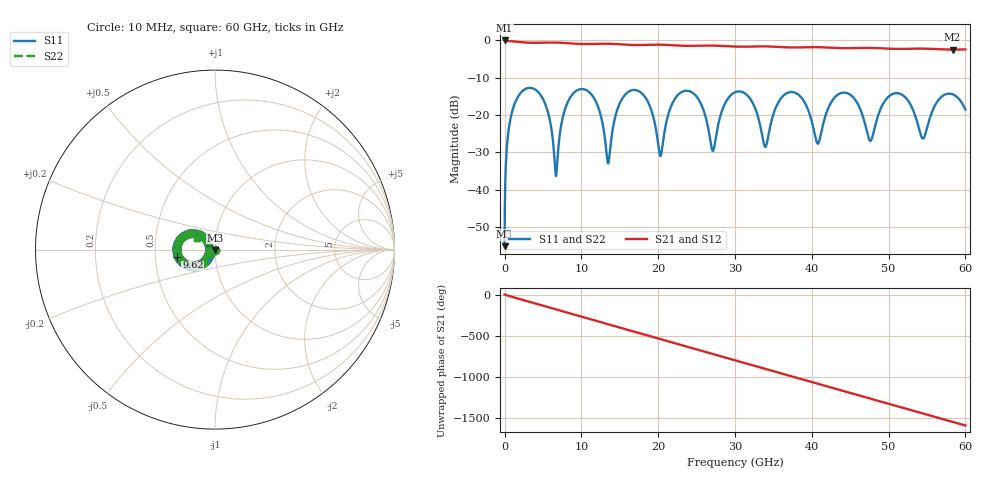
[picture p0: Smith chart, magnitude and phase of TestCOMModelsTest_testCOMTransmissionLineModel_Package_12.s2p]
! File created by SignalIntegrity v1.3.5: Signal and Power Integrity Tools
! https://github.com/TeledyneLeCroy/SignalIntegrity
# MHz S MA R 50.0
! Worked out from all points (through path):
!   6000 points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, 10 MHz to 60 GHz, reference 50 ohm
!   highest |S21| = -0.02 dB at 10 MHz (marker M1); lowest = -2.5 dB at 58.33 GHz (marker M2)
!   group delay of S21, straight-line fit = 73.3 ps
!   lowest |S11| = -55.1 dB at 10 MHz (marker M3), VSWR 1.00, Z = 49.9 - j0.167 ohm
!   |S11| at or under -10 dB: start of sweep to end of sweep
!   |S22| runs from -55.1 to -12.7 dB; largest |S21 - S12| = 0
!   S11 on the Smith chart (normalised r, x): 10 MHz: 1.00, -0.00; 9.62 GHz: 0.64, -0.06; 60 GHz: 0.82, +0.11
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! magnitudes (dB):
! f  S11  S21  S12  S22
! 10 MHz  -55.1  0.0  0.0  -55.1
! 540 MHz  -23.9  -0.2  -0.2  -23.9
! 1.81 GHz  -14.9  -0.4  -0.4  -14.9
! 4.92 GHz  -15.4  -0.6  -0.6  -15.4
! 6.7 GHz  -36.3  -0.6  -0.6  -36.3
! 9.62 GHz  -13.2  -0.9  -0.9  -13.2
! 10.01 GHz  -13.0  -1.0  -1.0  -13.0
! 13.46 GHz  -32.9  -0.9  -0.9  -32.9
! 16.6 GHz  -13.3  -1.2  -1.2  -13.3
! 20.01 GHz  -27.9  -1.1  -1.1  -27.9
! 23.76 GHz  -13.5  -1.5  -1.5  -13.5
! 27.15 GHz  -29.6  -1.4  -1.4  -29.6
! 30.01 GHz  -13.9  -1.7  -1.7  -13.9
! 33.93 GHz  -28.5  -1.6  -1.6  -28.5
! 36.8 GHz  -14.1  -1.9  -1.9  -14.1
! 40.01 GHz  -21.8  -1.8  -1.8  -21.8
! 44.54 GHz  -14.1  -2.1  -2.1  -14.1
! 47.65 GHz  -26.9  -2.0  -2.0  -26.9
! 50.01 GHz  -15.0  -2.2  -2.2  -15.0
! 54.47 GHz  -26.3  -2.2  -2.2  -26.3
! 58.33 GHz  -14.4  -2.5  -2.5  -14.4
! 60 GHz  -18.5  -2.4  -2.4  -18.5
